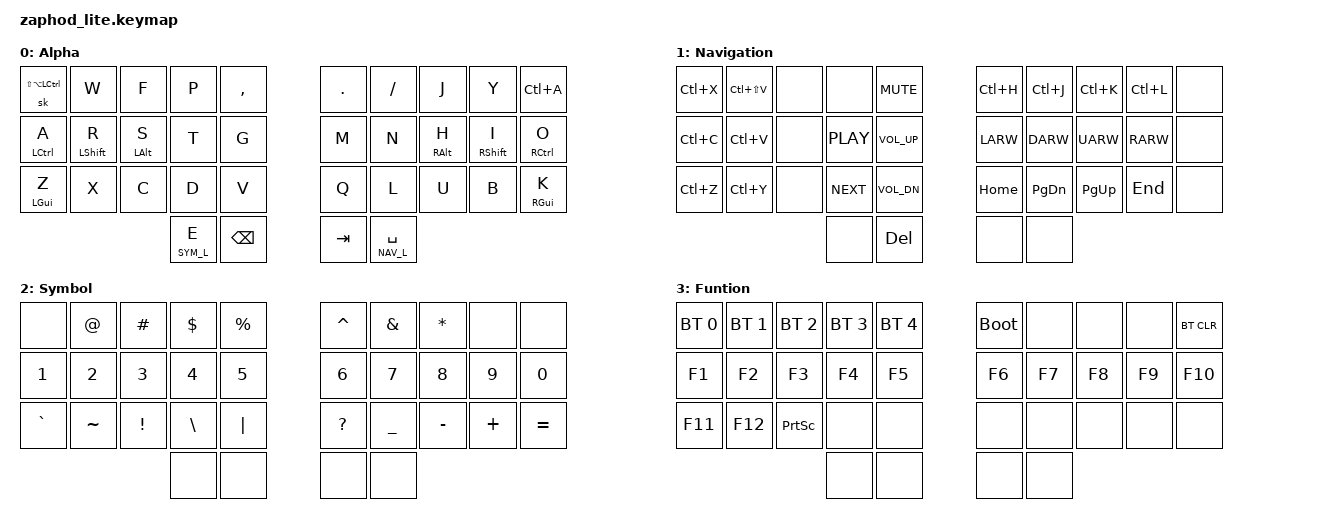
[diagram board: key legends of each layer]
#include <behaviors.dtsi>
#include <dt-bindings/zmk/keys.h>
#include <dt-bindings/zmk/bt.h>
#include <dt-bindings/zmk/outputs.h>

#define NAV_L 1
#define SYM_L 2
#define FUN_L 3

// Using layer taps on thumbs, having quick tap as well helps w/ repeating space/backspace
&lt { quick_tap_ms = <200>; };

/ {
    combos {
        compatible = "zmk,combos";

        combo_caps_lock {
            timeout-ms = <50>;
            key-positions = <11 18>;
            bindings = <&kp CAPS>;
        };
  
        combo_double_quote {
            timeout-ms = <50>;
            key-positions = <1 2>;
            bindings = <&kp DQT>;
        };

        combo_esc {
            timeout-ms = <50>;
            key-positions = <11 12>;
            bindings = <&kp ESC>;
        };

        combo_single_quote {
            timeout-ms = <50>;
            key-positions = <21 22>;
            bindings = <&kp SQT>;
        };
        
        combo_semi {
            timeout-ms = <50>;
            key-positions = <7 8>;
            bindings = <&kp SEMI>;
        };

        combo_enter {
            timeout-ms = <50>;
            key-positions = <17 18>;
            bindings = <&kp ENTER>;
        };
        
        combo_colon {
            timeout-ms = <50>;
            key-positions = <27 28>;
            bindings = <&kp COLON>;
        };

        combo_lbrace {
            timeout-ms = <50>;
            key-positions = <10 13>;
            bindings = <&kp LBRC>;
        };

        combo_rbrace {
            timeout-ms = <50>;
            key-positions = <16 19>;
            bindings = <&kp RBRC>;
        };
        
        combo_lsqrt {
            timeout-ms = <50>;
            key-positions = <12 13>;
            bindings = <&kp LBKT>;
        };

        combo_rsqrt {
            timeout-ms = <50>;
            key-positions = <16 17>;
            bindings = <&kp RBKT>;
        };
 
        combo_lpar {
            timeout-ms = <50>;
            key-positions = <11 13>;
            bindings = <&kp LPAR>;
        };
        
        combo_rpar {
            timeout-ms = <50>;
            key-positions = <16 18>;
            bindings = <&kp RPAR>;
        };

        combo_lt {
            timeout-ms = <50>;
            key-positions = <22 23>;
            bindings = <&kp LT>;
        };

        combo_gt {
            timeout-ms = <50>;
            key-positions = <26 27>;
            bindings = <&kp GT>;
        };
 
        combo_function_layer {
            timeout-ms = <50>;
            key-positions = <30 33>;
            bindings = <&mo FUN_L>;
        };
    };

    behaviors {
        hm: homerow_mods {
            compatible = "zmk,behavior-hold-tap";
            label = "homerow mods";
            #binding-cells = <2>;
            tapping_term_ms = <200>;
            flavor = "tap-preferred";
            bindings = <&kp>, <&kp>;
        };
    };

    keymap {
        compatible = "zmk,keymap";

        alpha_layer {
            label = "Alpha";
            bindings = <
                &sk LS(LA(LCTRL)) &kp W        &kp F       &kp P        &kp COMMA     &kp DOT   &kp SLASH       &kp J       &kp Y        &kp LC(A)
                &hm LCTRL A       &hm LSHFT R  &hm LALT S  &kp T        &kp G         &kp M     &kp N           &hm RALT H  &hm RSHFT I  &hm RCTL O
                &hm LGUI Z        &kp X        &kp C       &kp D        &kp V         &kp Q     &kp L           &kp U       &kp B        &hm RGUI K
                                                      &lt SYM_L E  &kp BKSP      &kp TAB   &lt NAV_L SPACE
            >;
        };

        nav_layer {
            label = "Navigation";
            bindings = <
                &kp LC(X) &kp LC(LS(V)) &none    &none       &kp C_MUTE     &kp LC(H)   &kp LC(J)   &kp LC(K)  &kp LC(L)  &none 
                &kp LC(C) &kp LC(V)     &none    &kp C_PLAY  &kp C_VOL_UP   &kp LARW    &kp DARW    &kp UARW   &kp RARW   &none
                &kp LC(Z) &kp LC(Y)     &none    &kp C_NEXT  &kp C_VOL_DN   &kp HOME    &kp PG_DN   &kp PG_UP  &kp END    &none
                                                 &none       &kp DEL        &none       &none
            >;
        };

        num_layer {
            label = "Symbol";
            bindings = <
                &none      &kp AT     &kp HASH    &kp DLLR   &kp PRCNT    &kp CARET    &kp AMPS    &kp STAR    &none      &none
                &kp N1     &kp N2     &kp N3      &kp N4     &kp N5       &kp N6       &kp N7      &kp N8      &kp N9     &kp N0
                &kp GRAVE  &kp TILDE  &kp EXCL    &kp BSLH   &kp PIPE     &kp QMARK    &kp UNDER   &kp MINUS   &kp PLUS   &kp EQUAL
                                                  &none      &none        &none        &none
            >;
        };

        fun_layer {
            label = "Funtion";
            bindings = <
                &bt BT_SEL 0  &bt BT_SEL 1  &bt BT_SEL 2  &bt BT_SEL 3  &bt BT_SEL 4   &bootloader  &none     &none   &none   &bt BT_CLR
                &kp F1        &kp F2        &kp F3        &kp F4        &kp F5         &kp F6       &kp F7    &kp F8  &kp F9  &kp F10
                &kp F11       &kp F12       &kp PSCRN     &none         &none          &none        &none     &none   &none   &none
                                                          &none         &none          &none        &none
            >;
        };
    };
};

